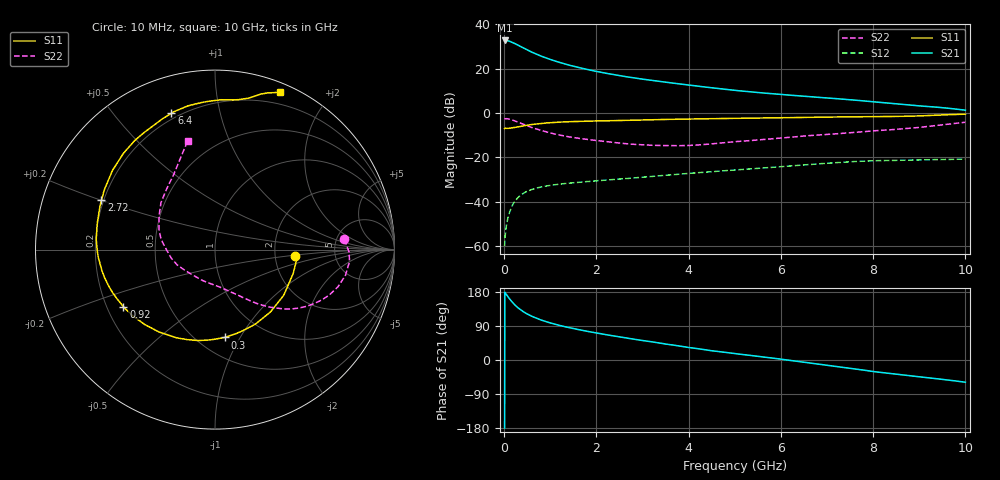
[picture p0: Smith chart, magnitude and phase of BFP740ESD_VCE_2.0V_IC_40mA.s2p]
! Infineon Technologies  Discrete & RF Semiconductors
! BFP740ESD
! VCE =  2.0 V,  IC =  40 mA
! Common Emitter S-Parameters:  Jan 2016
# GHz  S  MA  R  50
!  f  S11  S21  S12  S22
! GHz  MAG  ANG  MAG  ANG  MAG  ANG  MAG  ANG
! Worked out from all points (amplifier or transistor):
!   233 points, 10 MHz to 10 GHz, reference 50 ohm
!   highest |S21| = 32.8 dB at 20 MHz (marker M1)
!   |S21| within 3 dB of that: start of sweep to 378.7 MHz
!   unconditionally stable (mu >= 1): start of sweep to 86.09 MHz; 2.078 GHz to 9.069 GHz
!   at 200 MHz: K = 0.61, MSG = 36.2 dB, |S12| = -40.7 dB
!   at 1.74 GHz: K = 0.91, MSG = 25.5 dB, |S12| = -31.0 dB
!   at 10 GHz: K = 0.66, MSG = 11.0 dB, |S12| = -20.7 dB
!   S11 on the Smith chart (normalised r, x): 10 MHz: 2.59, -0.24; 300 MHz: 0.67, -0.86; 920 MHz: 0.27, -0.27; 2.72 GHz: 0.19, +0.20; 6.4 GHz: 0.17, +0.72; 10 GHz: 0.09, +1.49
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0.01  0.4473 -4.7  42.25 -179.4  0.001 70.8  0.7229 4.5
0.02  0.4583 -7.4  43.54 177.1  0.0016 57.4  0.7467 -1.0
0.05  0.4554 -17.2  43.25 172.6  0.003 64.4  0.7526 -5.0
0.1  0.4598 -33.7  42.54 164.0  0.0051 67.9  0.7408 -11.2
0.15  0.465 -48.3  40.66 156.2  0.0072 66.4  0.7162 -16.7
0.2  0.4724 -61.6  38.55 149.3  0.0092 63.9  0.6866 -21.5
0.3  0.4924 -83.6  34.05 137.7  0.0125 58.5  0.6246 -29.1
0.4  0.5153 -100.4  30.01 128.6  0.0151 53.6  0.5673 -35.1
0.45  0.5251 -107.3  28.22 124.9  0.0163 51.9  0.5411 -37.6
0.6  0.5552 -124.3  23.71 115.2  0.019 46.9  0.474 -43.5
0.8  0.5863 -140.4  19.32 105.6  0.0216 42.2  0.407 -49.6
0.92  0.6013 -148.1  17.38 100.8  0.0228 40.3  0.3761 -52.5
1.28  0.6334 -165.1  13.17 88.9  0.0256 36.8  0.3087 -59.8
1.68  0.655 -178.7  10.31 78.6  0.0279 35.5  0.2651 -66.7
2.2  0.6716 167.7  7.957 67.0  0.0309 35.1  0.2287 -75.7
2.72  0.6903 156.4  6.448 56.7  0.034 35.4  0.2014 -88.0
3.4  0.7166 144.0  5.142 44.2  0.0389 35.4  0.1862 -107.7
5.1  0.7639 120.2  3.191 15.5  0.0531 31.3  0.2307 -160.3
6.4  0.7977 107.7  2.45 -4.1  0.0668 25.1  0.299 170.9
6.8  0.8084 103.1  2.279 -10.5  0.0717 22.1  0.3203 163.6
8.4  0.8398 83.1  1.649 -36.0  0.0858 5.9  0.4239 130.8
10  0.9479 67.6  1.167 -58.7  0.0919 -7.6  0.6232 104.2
